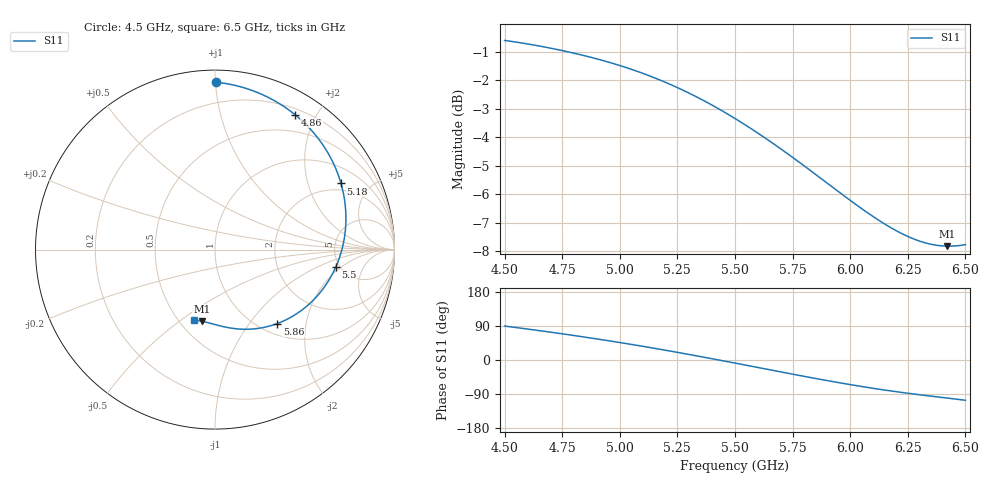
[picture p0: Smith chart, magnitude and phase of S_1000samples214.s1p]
! TOUCHSTONE file generated by CST MICROWAVE STUDIO
! Date and time: Thu Oct 27 09:51:53 2022
! Project name: L.cst
! Parameters = {Di=1.27; Epsilon_r=1.56; InnerDiameter=1.27; Length=2; Lf=10; Lg=60; OuterConductorThickness=0.2921; OuterDiameter=3.6; Wf=3; Wp=41.2; de=1.5; df=6.8; g=0.8; gx=1.79882; gy=3.88898; h=2.34; hf=1.524; px=11.0504; py=10.1791; w=9.7; wx=9.25159; wy=6.29013}
! Header version: 2018
! Port assignment regex: !\s*Touchstone port\s*([0-9]+)\s*=\s*(CST MWS port|CST DS port)\s*([0-9]+|Zmin|Zmax)\s*\(\"(.*)\"\)(\s*mode\s*([0-9]+))?.*
! Touchstone port assignment:
! Touchstone port 1 = CST MWS port 1 ("")
# GHz S DB R 50
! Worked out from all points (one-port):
!   101 points, 4.5 GHz to 6.5 GHz, reference 50 ohm
!   lowest |S11| = -7.8 dB at 6.42 GHz (marker M1), VSWR 2.37, Z = 31.8 - j30.5 ohm
!   |S11| at or under -10 dB: nowhere
!   S11 on the Smith chart (normalised r, x): 4.5 GHz: 0.07, +1.01; 4.86 GHz: 0.27, +1.72; 5.18 GHz: 1.65, +3.28; 5.5 GHz: 4.63, -1.66; 5.86 GHz: 1.19, -1.38; 6.5 GHz: 0.60, -0.56
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4.5  -0.61 89.5
4.58  -0.70 83.2
4.64  -0.79 78.4
4.7  -0.88 73.4
4.76  -0.98 68.2
4.86  -1.17 59.3
4.92  -1.30 53.8
5  -1.49 46.1
5.1  -1.76 36.0
5.18  -2.02 27.7
5.26  -2.30 19.1
5.32  -2.54 12.4
5.38  -2.79 5.7
5.44  -3.06 -1.2
5.5  -3.35 -8.1
5.56  -3.65 -15.1
5.64  -4.08 -24.5
5.7  -4.42 -31.5
5.76  -4.77 -38.5
5.8  -5.01 -43.1
5.86  -5.37 -49.9
5.92  -5.74 -56.5
6  -6.22 -64.9
6.12  -6.90 -76.6
6.26  -7.52 -88.5
6.34  -7.74 -94.6
6.42  -7.83 -100.4
6.5  -7.77 -106.3
